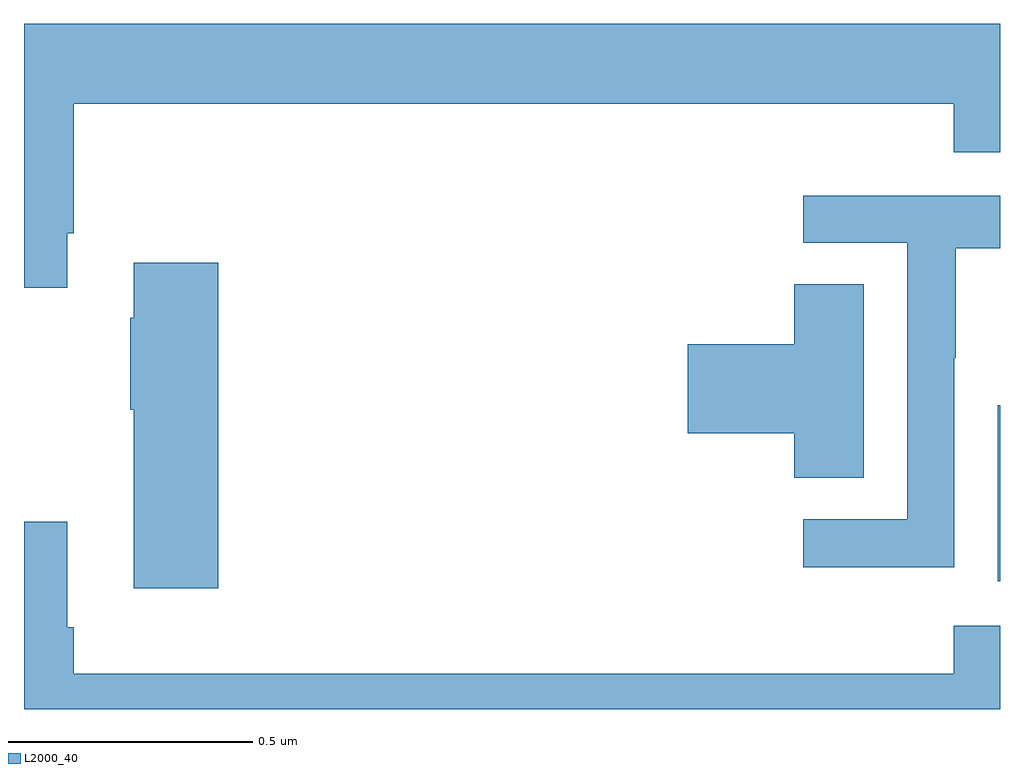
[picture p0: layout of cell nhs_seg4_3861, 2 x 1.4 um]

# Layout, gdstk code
import gdstk
lib = gdstk.Library(unit=1e-6, precision=1e-09)
def R(c, l, rs):  # rectangles x0, y0, x1, y1
    for r in rs: c.add(gdstk.rectangle(r[:2], r[2:], *l))
def P(c, l, *ps):  # polygons
    for p in ps: c.add(gdstk.Polygon(p, *l))
L2000_40 = (2000, 40)

nhs_seg4_3861 = lib.new_cell('nhs_seg4_3861')
R(nhs_seg4_3861, L2000_40, [(159.995,809.162,160,809.523)])
P(nhs_seg4_3861, L2000_40, [(158.089,809.875),(158.102,809.875),(158.102,810.14),(159.905,810.14),(159.905,810.041),(160,810.041),(160,810.304),(158,810.304),(158,809.763),(158.089,809.763)],
  [(159.906,809.62),(159.909,809.62),(159.909,809.844),(160,809.844),(160,809.952),(159.597,809.952),(159.597,809.856),(159.81,809.856),(159.81,809.289),(159.597,809.289),(159.597,809.191),(159.906,809.191)],
  [(158.398,809.815),(158.225,809.815),(158.225,809.702),(158.218,809.702),(158.218,809.513),(158.225,809.513),(158.225,809.148),(158.398,809.148)],
  [(159.721,809.771),(159.578,809.771),(159.578,809.648),(159.36,809.648),(159.36,809.465),(159.578,809.465),(159.578,809.374),(159.721,809.374)],
  [(160,809.071),(159.905,809.071),(159.905,808.972),(158.102,808.972),(158.102,809.068),(158.089,809.068),(158.089,809.284),(158,809.284),(158,808.9),(160,808.9)])

lib.write_gds('nhs_seg4_3861.gds')
